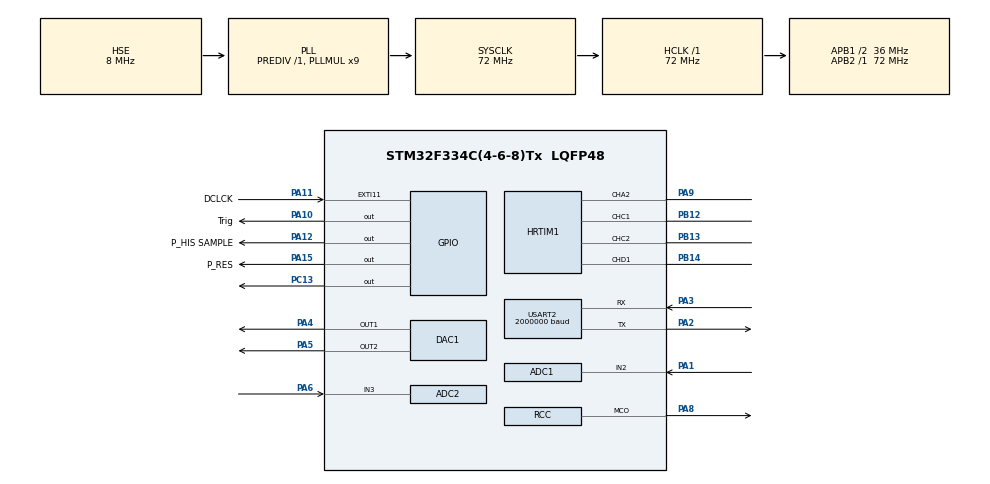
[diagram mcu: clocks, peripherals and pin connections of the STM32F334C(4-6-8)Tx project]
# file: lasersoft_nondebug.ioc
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ADC1.Channel-0\#ChannelRegularConversion=ADC_CHANNEL_2
ADC1.ClockPrescaler=ADC_CLOCK_ASYNC
ADC1.ContinuousConvMode=DISABLE
ADC1.DMAContinuousRequests=ENABLE
ADC1.DataAlign=ADC_DATAALIGN_RIGHT
ADC1.DiscontinuousConvMode=DISABLE
ADC1.EOCSelection=EOC_SINGLE_CONV
ADC1.EnableAnalogWatchDog1=false
ADC1.EnableAnalogWatchDog2=false
ADC1.EnableAnalogWatchDog3=false
ADC1.EnableInjectedConversion=ENABLE
ADC1.EnableRegularConversion=ENABLE
ADC1.ExternalTrigConv=ADC_EXTERNALTRIGCONV_T1_CC2
ADC1.ExternalTrigConvEdge=ADC_EXTERNALTRIGCONVEDGE_RISING
ADC1.InjNumberOfConversion=0
ADC1.LowPowerAutoWait=DISABLE
ADC1.NbrOfConversion=1
ADC1.NbrOfConversionFlag=1
ADC1.Offset-0\#ChannelRegularConversion=0
ADC1.OffsetNumber-0\#ChannelRegularConversion=ADC_OFFSET_NONE
ADC1.Overrun=OVR_DATA_OVERWRITTEN
ADC1.Rank-0\#ChannelRegularConversion=1
ADC1.Resolution=ADC_RESOLUTION12b
ADC1.SamplingTime-0\#ChannelRegularConversion=ADC_SAMPLETIME_2CYCLES_5
ADC1.ScanConvMode=ADC_SCAN_DISABLE
ADC1.SubFamily=STM32F334x8
ADC1.master=1
ADC2.Channel-0\#ChannelRegularConversion=ADC_CHANNEL_3
ADC2.ClockPrescaler=ADC_CLOCK_ASYNC
ADC2.ContinuousConvMode=DISABLE
ADC2.DMAContinuousRequests=ENABLE
ADC2.DataAlign=ADC_DATAALIGN_RIGHT
ADC2.DiscontinuousConvMode=DISABLE
ADC2.EOCSelection=EOC_SINGLE_CONV
ADC2.EnableAnalogWatchDog1=false
ADC2.EnableAnalogWatchDog2=false
ADC2.EnableAnalogWatchDog3=false
ADC2.EnableInjectedConversion=ENABLE
ADC2.EnableRegularConversion=ENABLE
ADC2.ExternalTrigConv=ADC_EXTERNALTRIGCONV_T1_CC3
ADC2.ExternalTrigConvEdge=ADC_EXTERNALTRIGCONVEDGE_RISING
ADC2.InjNumberOfConversion=0
ADC2.LowPowerAutoWait=DISABLE
ADC2.NbrOfConversion=1
ADC2.NbrOfConversionFlag=1
ADC2.Offset-0\#ChannelRegularConversion=0
ADC2.OffsetNumber-0\#ChannelRegularConversion=ADC_OFFSET_NONE
ADC2.Overrun=OVR_DATA_OVERWRITTEN
ADC2.Rank-0\#ChannelRegularConversion=1
ADC2.Resolution=ADC_RESOLUTION12b
ADC2.SamplingTime-0\#ChannelRegularConversion=ADC_SAMPLETIME_2CYCLES_5
ADC2.ScanConvMode=ADC_SCAN_DISABLE
ADC2.SubFamily=STM32F334x8
Dma.ADC1.1.Direction=DMA_PERIPH_TO_MEMORY
Dma.ADC1.1.Instance=DMA1_Channel1
Dma.ADC1.1.MemDataAlignment=DMA_MDATAALIGN_HALFWORD
Dma.ADC1.1.MemInc=DMA_MINC_ENABLE
Dma.ADC1.1.Mode=DMA_CIRCULAR
Dma.ADC1.1.PeriphDataAlignment=DMA_PDATAALIGN_HALFWORD
Dma.ADC1.1.PeriphInc=DMA_PINC_DISABLE
Dma.ADC1.1.Priority=DMA_PRIORITY_HIGH
Dma.ADC2.2.Direction=DMA_PERIPH_TO_MEMORY
Dma.ADC2.2.Instance=DMA1_Channel2
Dma.ADC2.2.MemDataAlignment=DMA_MDATAALIGN_HALFWORD
Dma.ADC2.2.MemInc=DMA_MINC_ENABLE
Dma.ADC2.2.Mode=DMA_CIRCULAR
Dma.ADC2.2.PeriphDataAlignment=DMA_PDATAALIGN_HALFWORD
Dma.ADC2.2.PeriphInc=DMA_PINC_DISABLE
Dma.ADC2.2.Priority=DMA_PRIORITY_HIGH
Dma.Request0=USART2_TX
Dma.Request1=ADC1
Dma.Request2=ADC2
Dma.USART2_TX.0.Direction=DMA_MEMORY_TO_PERIPH
Dma.USART2_TX.0.Instance=DMA1_Channel7
Dma.USART2_TX.0.MemDataAlignment=DMA_MDATAALIGN_BYTE
Dma.USART2_TX.0.MemInc=DMA_MINC_ENABLE
Dma.USART2_TX.0.Mode=DMA_CIRCULAR
Dma.USART2_TX.0.PeriphDataAlignment=DMA_PDATAALIGN_BYTE
Dma.USART2_TX.0.PeriphInc=DMA_PINC_DISABLE
Dma.USART2_TX.0.Priority=DMA_PRIORITY_LOW
HRTIM1.CompareUnit1-Output_TC1TC2=HRTIM_COMPAREUNIT_1
HRTIM1.CompareUnit1-Output_TD1=HRTIM_COMPAREUNIT_1
HRTIM1.CompareUnit2-Output_TA2=HRTIM_COMPAREUNIT_2
HRTIM1.CompareUnit2-Output_TC1TC2=HRTIM_COMPAREUNIT_2
HRTIM1.CompareUnit2-Output_TD1=HRTIM_COMPAREUNIT_2
HRTIM1.CompareUnit3-Output_TC1TC2=HRTIM_COMPAREUNIT_3
HRTIM1.CompareUnit3-Output_TD1=HRTIM_COMPAREUNIT_3
HRTIM1.CompareValue1-Output_TC1TC2=100
HRTIM1.CompareValue1-Output_TD1=99
HRTIM1.CompareValue2-Output_TA2=185
HRTIM1.CompareValue2-Output_TC1TC2=285
HRTIM1.CompareValue2-Output_TD1=185
HRTIM1.CompareValue3-Output_TC1TC2=469
HRTIM1.CompareValue3-Output_TD1=470
HRTIM1.ModeTimeBase-Output_TA2=HRTIM_MODE_SINGLESHOT
HRTIM1.ModeTimeBase-Output_TC1TC2=HRTIM_MODE_SINGLESHOT
HRTIM1.ModeTimeBase-Output_TD1=HRTIM_MODE_SINGLESHOT
HRTIM1.NumberResetSource1-Output_TC1TC2=1
HRTIM1.NumberResetSource1-Output_TD1=1
HRTIM1.NumberResetSource2-Output_TA2=1
HRTIM1.NumberResetSource2_TC=1
HRTIM1.NumberSetSource1-Output_TC1TC2=1
HRTIM1.NumberSetSource1-Output_TD1=1
HRTIM1.NumberSetSource2-Output_TA2=1
HRTIM1.NumberSetSource2_TC=1
HRTIM1.Periode_TA=46080
HRTIM1.Periode_TC=46080
HRTIM1.Periode_TD=46080
HRTIM1.Polarity1-Output_TD1=HRTIM_OUTPUTPOLARITY_LOW
HRTIM1.ResetOutput1_Source1-Output_TC1TC2=HRTIM_OUTPUTRESET_TIMCMP2
HRTIM1.ResetOutput1_Source1-Output_TD1=HRTIM_OUTPUTRESET_TIMCMP3
HRTIM1.ResetOutput2_Source1-Output_TA2=HRTIM_OUTPUTRESET_TIMCMP2
HRTIM1.ResetOutput2_Source1-Output_TC1TC2=HRTIM_OUTPUTRESET_TIMCMP3
HRTIM1.SetOutput1_Source1-Output_TC1TC2=HRTIM_OUTPUTSET_TIMCMP1
HRTIM1.SetOutput1_Source1-Output_TD1=HRTIM_OUTPUTSET_TIMCMP1
HRTIM1.SetOutput2_Source1-Output_TA2=HRTIM_OUTPUTSET_RESYNC
HRTIM1.SetOutput2_Source1-Output_TC1TC2=HRTIM_OUTPUTSET_TIMCMP2
Mcu.Family=STM32F3
Mcu.Name=STM32F334C(4-6-8)Tx
Mcu.Package=LQFP48
NVIC.DMA1_Channel1_IRQn=true\:0\:0\:true
NVIC.DMA1_Channel2_IRQn=true\:0\:0\:false
NVIC.DMA1_Channel7_IRQn=true\:1\:1\:true
NVIC.PriorityGroup=NVIC_PRIORITYGROUP_2
NVIC.TIM1_UP_TIM16_IRQn=true\:2\:0\:true
NVIC.USART2_IRQn=true\:1\:1\:true
PA1.Mode=IN2-Single-Ended
PA1.Signal=ADC1_IN2
PA10.GPIO_Label=Trig
PA10.GPIO_ModeDefaultOutputPP=GPIO_MODE_OUTPUT_PP
PA10.GPIO_PuPd=GPIO_NOPULL
PA10.GPIO_Speed=GPIO_SPEED_MEDIUM
PA10.Signal=GPIO_Output
PA11.GPIO_Label=DCLCK
PA11.GPIO_ModeDefaultEXTI=GPIO_MODE_EVT_RISING
PA11.GPIO_PuPd=GPIO_NOPULL
PA11.Signal=GPXTI11
PA12.GPIO_Label=P_HIS SAMPLE
PA12.GPIO_ModeDefaultOutputPP=GPIO_MODE_OUTPUT_PP
PA12.GPIO_PuPd=GPIO_NOPULL
PA12.GPIO_Speed=GPIO_SPEED_MEDIUM
PA12.Signal=GPIO_Output
PA13.Mode=Trace-Asynchronous_SW
PA13.Signal=SYS_JTMS-SWDIO
PA14.Mode=Trace-Asynchronous_SW
PA14.Signal=SYS_JTCK-SWCLK
PA15.GPIO_Label=P_RES
PA15.GPIO_ModeDefaultOutputPP=GPIO_MODE_OUTPUT_PP
PA15.GPIO_PuPd=GPIO_NOPULL
PA15.GPIO_Speed=GPIO_SPEED_MEDIUM
PA15.Signal=GPIO_Output
PA2.Mode=Asynchronous
PA2.Signal=USART2_TX
PA3.Mode=Asynchronous
PA3.Signal=USART2_RX
PA4.Signal=COMP_DAC11_group
PA5.Signal=COMP_DAC12_group
PA6.Mode=IN3-Single-Ended
PA6.Signal=ADC2_IN3
PA8.GPIO_Mode=GPIO_MODE_AF_PP
PA8.GPIO_PuPd=GPIO_NOPULL
PA8.GPIO_Speed=GPIO_SPEED_HIGH
PA8.Mode=Clock-out
PA8.Signal=RCC_MCO
PA9.Mode=Output_TA2
PA9.Signal=HRTIM1_CHA2
PB12.Mode=Output_TC1TC2
PB12.Signal=HRTIM1_CHC1
PB13.Mode=Output_TC1TC2
PB13.Signal=HRTIM1_CHC2
PB14.Mode=Output_TD1
PB14.Signal=HRTIM1_CHD1
PB3.Mode=Trace-Asynchronous_SW
PB3.Signal=SYS_JTDO-TRACESWO
PC13.GPIO_ModeDefaultOutputPP=GPIO_MODE_OUTPUT_OD
PC13.GPIO_PuPd=GPIO_NOPULL
PC13.GPIO_Speed=GPIO_SPEED_LOW
PC13.Signal=GPIO_Output
PF0\ /\ OSC_IN.Mode=HSE-External-Oscillator
PF0\ /\ OSC_IN.Signal=RCC_OSC_IN
PF1\ /\ OSC_OUT.Mode=HSE-External-Oscillator
PF1\ /\ OSC_OUT.Signal=RCC_OSC_OUT
ProjectManager.TargetToolchain=MDK-ARM V5
RCC.AHBFreq_Value=72000000
RCC.APB1CLKDivider=RCC_HCLK_DIV2
RCC.APB1Freq_Value=36000000
RCC.APB1TimFreq_Value=72000000
RCC.APB2Freq_Value=72000000
RCC.APB2TimFreq_Value=72000000
RCC.CortexFreq_Value=72000000
RCC.HCLKFreq_Value=72000000
RCC.HRTIMSelection=RCC_HRTIM1CLK_PLLCLK
RCC.HSE_VALUE=8000000
RCC.HSIState=RCC_HSI_ON
RCC.HSI_VALUE=8000000
RCC.LSE_VALUE=32768
RCC.PLLMUL=RCC_PLL_MUL9
RCC.PLLSourceVirtual=RCC_PLLSOURCE_HSE
RCC.RCC_MCODiv=RCC_MCO_DIV2
RCC.RCC_MCOMult_Clock_Source_FROM_PLLMUL=RCC_MCOSOURCE_PLLCLK_DIV2
RCC.RCC_MCOSource=RCC_MCOSOURCE_HSE
RCC.SYSCLKFreq_VALUE=72000000
RCC.SYSCLKSourceVirtual=RCC_SYSCLKSOURCE_PLLCLK
RCC.Usart2ClockSelection=RCC_USART2CLKSOURCE_SYSCLK
SH.COMP_DAC11_group.0=DAC1_OUT1,DAC_OUT1
SH.COMP_DAC12_group.0=DAC1_OUT2,DAC_OUT2
TIM1.Period=500
TIM1.Prescaler=72
USART2.BaudRate=2000000
USART2.WordLength=UART_WORDLENGTH_8B
VP_IWDG_VS_IWDG.Mode=IWDG_Activate
VP_TIM1_VS_ClockSourceINT.Mode=Internal
board=lasersoft_nondebug

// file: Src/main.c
/**
  ******************************************************************************
  * File Name          : main.c
  * Description        : Main program body
  ******************************************************************************
  *
  * COPYRIGHT(c) 2015 STMicroelectronics
  *
  * Redistribution and use in source and binary forms, with or without modification,
  * are permitted provided that the following conditions are met:
  *   1. Redistributions of source code must retain the above copyright notice,
  *      this list of conditions and the following disclaimer.
  *   2. Redistributions in binary form must reproduce the above copyright notice,
  *      this list of conditions and the following disclaimer in the documentation
  *      and/or other materials provided with the distribution.
  *   3. Neither the name of STMicroelectronics nor the names of its contributors
  *      may be used to endorse or promote products derived from this software
  *      without specific prior written permission.
  *
  * THIS SOFTWARE IS PROVIDED BY THE COPYRIGHT HOLDERS AND CONTRIBUTORS "AS IS"
  * AND ANY EXPRESS OR IMPLIED WARRANTIES, INCLUDING, BUT NOT LIMITED TO, THE
  * IMPLIED WARRANTIES OF MERCHANTABILITY AND FITNESS FOR A PARTICULAR PURPOSE ARE
  * DISCLAIMED. IN NO EVENT SHALL THE COPYRIGHT HOLDER OR CONTRIBUTORS BE LIABLE
  * FOR ANY DIRECT, INDIRECT, INCIDENTAL, SPECIAL, EXEMPLARY, OR CONSEQUENTIAL
  * DAMAGES (INCLUDING, BUT NOT LIMITED TO, PROCUREMENT OF SUBSTITUTE GOODS OR
  * SERVICES; LOSS OF USE, DATA, OR PROFITS; OR BUSINESS INTERRUPTION) HOWEVER
  * CAUSED AND ON ANY THEORY OF LIABILITY, WHETHER IN CONTRACT, STRICT LIABILITY,
  * OR TORT (INCLUDING NEGLIGENCE OR OTHERWISE) ARISING IN ANY WAY OUT OF THE USE
  * OF THIS SOFTWARE, EVEN IF ADVISED OF THE POSSIBILITY OF SUCH DAMAGE.
  *
  ******************************************************************************
  */
#include "stm32f3xx_hal.h"
#include "adc.h"
#include "dac.h"
#include "dma.h"
#include "hrtim.h"
#include "iwdg.h"
#include "tim.h"
#include "usart.h"
#include "gpio.h"

/* USER CODE BEGIN Includes */
#include <string.h>
#include <math.h>
/* USER CODE END Includes */

void SystemClock_Config(void);

/* USER CODE BEGIN PFP */
#define DAC_1V 1240
#define DAC_2_125V 2530
//#define LASER850

uint16_t ADC_DATABUFF_A[272];
uint16_t ADC_DATABUFF_B[272];

uint16_t ADC_RESET_A[272];
uint16_t ADC_RESET_B[272];

uint16_t ADC_AMBIENT_A[272];// per 100ms....
uint16_t ADC_AMBIENT_B[272];

float poly[7];

//status, for checking calculation in main while(1)
typedef enum {idle=0,converting=1,finished=2}ADC_STATUS;
typedef enum {ambient=0,normal=1}WORKING_STATUS;
//ADC and temporary working status
volatile ADC_STATUS ADCStatus;
WORKING_STATUS WORKINGStatus;
//distance data
uint16_t DISTANCE_DATA[274]; //use this to store distance data.
uint16_t TEST_DATA[8][274];
//reserved
volatile uint16_t TXBUFF[274];
int TIMERCOUNTER = 0;
uint8_t UART_RE_DATA[2];
int pulse_num = 0;

float ambient_coef;

// A lot of parameters used to calculate the distance
float SR = 1.04; // sensitivity ratio
float Dofs = 2.0;  // distance offset
float Tilt = 1.0;   //tilt value
float top,bot;
int record[8];
//these values could be changed by usart

/* USER CODE END PFP */

/* USER CODE BEGIN 0 */
extern void DelayUs(uint32_t dwTime);
extern void Delay250ns(uint32_t dwTime);
/* USER CODE END 0 */

int main(void)
{

  /* USER CODE BEGIN 1 */
  DISTANCE_DATA[0] = 0xa1a2;
	DISTANCE_DATA[273] = 0x2b2a;
  /* USER CODE END 1 */

  /* MCU Configuration----------------------------------------------------------*/

  /* Reset of all peripherals, Initializes the Flash interface and the Systick. */
  HAL_Init();

  /* Configure the system clock */
  SystemClock_Config();

  /* Initialize all configured peripherals */
  MX_GPIO_Init();
  MX_DMA_Init();
  MX_ADC1_Init();
  MX_ADC2_Init();
  MX_DAC1_Init();
  MX_HRTIM1_Init();
  MX_IWDG_Init();
  MX_TIM1_Init();
  MX_USART2_UART_Init();

  /* USER CODE BEGIN 2 */

	/****************************
	HRTIM CONFIGURATION:
			PB12=C1=VTX1    PB13=C2=VTX2
			PB14=D1=VTX3    PA9=A2=PULSE
	******************************/
	{
	//channel C TC1 and TC2    as VTX1 and VTX2
		//test!!! should be in a function
		{
			int hrtim_offset = -40;
#ifdef LASER850
			hhrtim1.Instance->sTimerxRegs[HRTIM_TIMERINDEX_TIMER_C].CMP2xR = 100 + 139;
			hhrtim1.Instance->sTimerxRegs[HRTIM_TIMERINDEX_TIMER_C].CMP3xR = 100 + 139 + 139;
			hhrtim1.Instance->sTimerxRegs[HRTIM_TIMERINDEX_TIMER_D].CMP3xR = 100 + 139 + 139 + 1;
		//pulse = 30nm
			hhrtim1.Instance->sTimerxRegs[HRTIM_TIMERINDEX_TIMER_A].CMP2xR = 139;
			hrtim_offset = 20;

#endif

			// using offset to define delay after the pulse......      905nm 20   850nm 0?  need to be test
			hhrtim1.Instance->sTimerxRegs[HRTIM_TIMERINDEX_TIMER_C].CMP1xR += hrtim_offset;
			hhrtim1.Instance->sTimerxRegs[HRTIM_TIMERINDEX_TIMER_C].CMP2xR += hrtim_offset;
			hhrtim1.Instance->sTimerxRegs[HRTIM_TIMERINDEX_TIMER_C].CMP3xR += hrtim_offset;

			// 5 is for the offset of VTX3  should be faster and slower than VTX1 and VTX2`
			hhrtim1.Instance->sTimerxRegs[HRTIM_TIMERINDEX_TIMER_D].CMP1xR += hrtim_offset-5;

						//this is the pulse remain constant
			hhrtim1.Instance->sTimerxRegs[HRTIM_TIMERINDEX_TIMER_A].CMP2xR += 0;

			hhrtim1.Instance->sTimerxRegs[HRTIM_TIMERINDEX_TIMER_D].CMP3xR += hrtim_offset+5;
		}
		HAL_HRTIM_WaveformOutputStart(&hhrtim1,HRTIM_OUTPUT_TC1);
		HAL_HRTIM_WaveformOutputStart(&hhrtim1,HRTIM_OUTPUT_TC2);
		//channel D TD1   as VTX3   channel D TA2 as PULSE
		HAL_HRTIM_WaveformOutputStart(&hhrtim1,HRTIM_OUTPUT_TD1);
		HAL_HRTIM_WaveformOutputStart(&hhrtim1,HRTIM_OUTPUT_TA2);
		// start timer
		HAL_HRTIM_WaveformCounterStart(&hhrtim1,HRTIM_TIMERID_TIMER_A|HRTIM_TIMERID_TIMER_C|HRTIM_TIMERID_TIMER_D);
	}

	/****************************
	DAC CONFIGURATION:
			PA5=DAC2=4.25V/2=2.125V	=	2638*3.3/4096
			PA4=DAC1=1.0V		=		1241*3.3/4096
	******************************/
{
	HAL_DAC_SetValue(&hdac1,DAC_CHANNEL_1,DAC_ALIGN_12B_R,DAC_1V);
	HAL_DAC_SetValue(&hdac1,DAC_CHANNEL_2,DAC_ALIGN_12B_R,DAC_2_125V);
	HAL_DAC_Start(&hdac1,DAC_CHANNEL_1);
	HAL_DAC_Start(&hdac1,DAC_CHANNEL_2);
}

	/****************************
		ADC_CONFIGURATION:
		BUFFER:    ADC_BUFF_A[272] and  ADC_BUFF_B[272];
	******************************/
{
	  //start calibration first
		HAL_ADCEx_Calibration_Start(&hadc1,ADC_SINGLE_ENDED);
		HAL_ADCEx_Calibration_Start(&hadc2,ADC_SINGLE_ENDED);
		HAL_Delay(1);
		//then start DMA
	  HAL_ADC_Start_DMA(&hadc1,(uint32_t *)ADC_RESET_A,272);
		HAL_ADC_Start_DMA(&hadc2,(uint32_t *)ADC_RESET_B,272);
}
	/****************************
		UART Transmit and Receive
	******************************/
{

	//HAL_UART_Transmit_DMA(&huart1,(uint8_t *)ADC_BUFF_B,544);
	HAL_UART_Receive_IT(&huart2,UART_RE_DATA,sizeof(UART_RE_DATA));
//	HAL_UART_DMAPause(&huart2);

}
	/****************************
		TIM1 100us interrupt...
	******************************/
	 HAL_TIM_Base_Start_IT(&htim1);
	 WORKINGStatus = ambient;
   ADCStatus = idle;
		/****************************
	Independent Watch Dog
	******************************/
		// HAL_IWDG_Start(&hiwdg);
  int calcu_num = 0;
   poly[0] = 1.648001258107309e+06;
   poly[1] = -5.305835891559632e+06;
   poly[2] = 7.127857366587162e+06;
   poly[3] = -5.110547144753641e+06;
   poly[4] = 2.060999435889212e+06;
   poly[5] = -4.423848603771256e+05;
   poly[6] = 3.937815633389474e+04;

  /* USER CODE END 2 */

  /* Infinite loop */
  while (1)
  {

  /* USER CODE BEGIN 3 */

		//HAL_Delay(1);
		if(ADCStatus==finished){
			ADCStatus = idle;  //idle mode...
			//switch status, to do the calculation....

			for(int i=0;i<272;i++){
				//Vreset2 - Vout2 - Vambient2     Cap2 discharge mount
				 top = ADC_RESET_B[i] - ADC_DATABUFF_B[i] - ambient_coef ;
				//(Vreset1 - Vout1 - Vambient1)*SR     Cap1 discharge mount
				 bot = SR * (ADC_RESET_A[i] - ADC_DATABUFF_A[i]) - ambient_coef;
				//light speed in air = 2.9952816
								if(i==176)  //conpensate for pixel 176
                    bot *= 1.04;
				float k = top/(bot+top);

				float dist;
				if(bot>2500||bot<0)
                       dist= 0;
        else if(bot+top>100 + (ambient_coef/0.053) * 0.4){
					dist = poly[0]*k*k*k*k*k*k + poly[1]*k*k*k*k*k + poly[2]*k*k*k*k
                               + poly[3]*k*k*k + poly[4]*k*k + poly[5]*k + poly[6]  + 3.4 - 10*k;
			}
				else
					dist = 0;
				//dist cant be minus
				dist = dist>0?dist:0;

				//then we need to consider to get the average distance data,
				//perhaps the last one is much more accurate....
				//need to be tested.
//			if(ADC_DATABUFF_A[i]<3500||ADC_DATABUFF_B[i]<3500){
//				dist = (dist + (float)DISTANCE_DATA[i]/10000)/2;
//			}
				//here we need to consider the saturation...
				//1500 = 1.2V  saturation, will use the previous data
				if(ADC_DATABUFF_A[i]>2200&&ADC_DATABUFF_B[i]>2200){
					//&&ADC_DATABUFF_A[i]<3700&&ADC_DATABUFF_B[i]<3700){
					DISTANCE_DATA[i+1] = (uint16_t)(dist * 100);  //0~60000,  at most 6 meters....
					}
			  	//ADC_DATABUFF_B[i] = 0;
					//ADC_DATABUFF_A[i] = 0;

			}
			record[calcu_num] = TIMERCOUNTER;
			memcpy(&TEST_DATA[calcu_num][274],DISTANCE_DATA,sizeof(DISTANCE_DATA));
			calcu_num++;
			if(calcu_num>=6)
				calcu_num = 0;
		}

	//	HAL_HRTIM_SoftwareReset(&hhrtim1,HRTIM_TIMERRESET_TIMER_A|HRTIM_TIMERRESET_TIMER_C|HRTIM_TIMERRESET_TIMER_D);
	 // HAL_UART_Receive_IT(&huart2,UART_RE_DATA,sizeof(UART_RE_DATA));

		//HAL_IWDG_Refresh(&hiwdg);
  }
  /* USER CODE END 3 */

}

/** System Clock Configuration
*/
void SystemClock_Config(void)
{

  RCC_OscInitTypeDef RCC_OscInitStruct;
  RCC_ClkInitTypeDef RCC_ClkInitStruct;
  RCC_PeriphCLKInitTypeDef PeriphClkInit;

  RCC_OscInitStruct.OscillatorType = RCC_OSCILLATORTYPE_LSI|RCC_OSCILLATORTYPE_HSE;
  RCC_OscInitStruct.HSEState = RCC_HSE_ON;
  RCC_OscInitStruct.HSEPredivValue = RCC_HSE_PREDIV_DIV1;
  RCC_OscInitStruct.LSIState = RCC_LSI_ON;
  RCC_OscInitStruct.PLL.PLLState = RCC_PLL_ON;
  RCC_OscInitStruct.PLL.PLLSource = RCC_PLLSOURCE_HSE;
  RCC_OscInitStruct.PLL.PLLMUL = RCC_PLL_MUL9;
  HAL_RCC_OscConfig(&RCC_OscInitStruct);

  RCC_ClkInitStruct.ClockType = RCC_CLOCKTYPE_SYSCLK|RCC_CLOCKTYPE_PCLK1;
  RCC_ClkInitStruct.SYSCLKSource = RCC_SYSCLKSOURCE_PLLCLK;
  RCC_ClkInitStruct.AHBCLKDivider = RCC_SYSCLK_DIV1;
  RCC_ClkInitStruct.APB1CLKDivider = RCC_HCLK_DIV2;
  RCC_ClkInitStruct.APB2CLKDivider = RCC_HCLK_DIV1;
  HAL_RCC_ClockConfig(&RCC_ClkInitStruct, FLASH_LATENCY_2);

  PeriphClkInit.PeriphClockSelection = RCC_PERIPHCLK_HRTIM1|RCC_PERIPHCLK_USART2
                              |RCC_PERIPHCLK_TIM1|RCC_PERIPHCLK_ADC12;
  PeriphClkInit.Usart2ClockSelection = RCC_USART2CLKSOURCE_SYSCLK;
  PeriphClkInit.Adc12ClockSelection = RCC_ADC12PLLCLK_DIV1;
  PeriphClkInit.Tim1ClockSelection = RCC_TIM1CLK_HCLK;
  PeriphClkInit.Hrtim1ClockSelection = RCC_HRTIM1CLK_PLLCLK;
  HAL_RCCEx_PeriphCLKConfig(&PeriphClkInit);

  HAL_RCC_MCOConfig(RCC_MCO, RCC_MCOSOURCE_HSE, RCC_MCO_DIV2);

  HAL_SYSTICK_Config(HAL_RCC_GetHCLKFreq()/1000);

  HAL_SYSTICK_CLKSourceConfig(SYSTICK_CLKSOURCE_HCLK);

  /* SysTick_IRQn interrupt configuration */
  HAL_NVIC_SetPriority(SysTick_IRQn, 1, 0);
}

/************************ (C) COPYRIGHT STMicroelectronics *****END OF FILE****/
